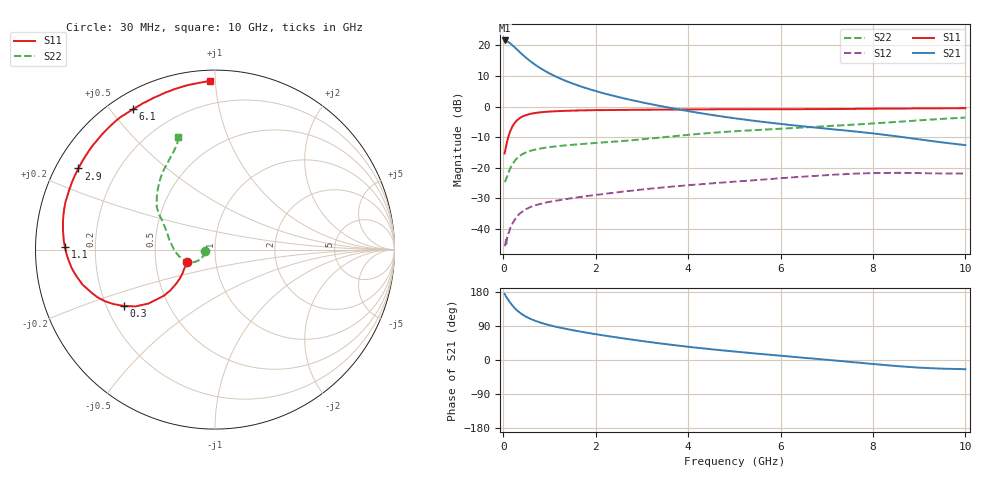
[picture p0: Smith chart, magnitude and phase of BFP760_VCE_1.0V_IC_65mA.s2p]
! Infineon Technologies  Discrete & RF Semiconductors
! BFP760
! VCE =  1.0 V,  IC =  65 mA
! Common Emitter S-Parameters:  Nov 2012
# GHz  S  MA  R  50
!  f  S11  S21  S12  S22
! GHz  MAG  ANG  MAG  ANG  MAG  ANG  MAG  ANG
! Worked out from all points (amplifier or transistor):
!   99 points, 30 MHz to 10 GHz, reference 50 ohm
!   highest |S21| = 21.6 dB at 30 MHz (marker M1)
!   |S21| within 3 dB of that: start of sweep to 301 MHz
!   unconditionally stable (mu >= 1): start of sweep to end of sweep
!   at 350 MHz: K = 2.18, MAG = 20.4 dB, |S12| = -35.1 dB
!   at 3.5 GHz: K = 2.17, MAG = 7.0 dB, |S12| = -26.4 dB
!   at 10 GHz: K = 2.23, MAG = -1.6 dB, |S12| = -21.9 dB
!   S11 on the Smith chart (normalised r, x): 30 MHz: 0.72, -0.10; 300 MHz: 0.27, -0.26; 1.1 GHz: 0.09, +0.01; 2.9 GHz: 0.07, +0.27; 6.1 GHz: 0.07, +0.57; 10 GHz: 0.06, +0.97
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0.03  0.1709 -156.6  12.07 174.5  0.0052 20.1  0.0585 -169.6
0.05  0.2027 -148.0  11.98 169.9  0.0059 32.4  0.0616 -162.9
0.08  0.2582 -140.3  11.71 164.0  0.0069 42.8  0.0708 -153.5
0.12  0.3373 -137.6  11.26 156.6  0.0086 43.7  0.0854 -148.3
0.15  0.3935 -138.3  10.83 151.5  0.0102 47.0  0.0967 -146.7
0.2  0.4759 -140.9  10.06 143.6  0.0122 47.3  0.1147 -146.8
0.25  0.5438 -144.4  9.29 136.9  0.0141 47.5  0.13 -148.5
0.3  0.5976 -148.3  8.557 130.9  0.016 46.2  0.1435 -150.6
0.35  0.6419 -151.8  7.877 125.8  0.0176 45.3  0.1548 -153.1
0.45  0.7053 -157.8  6.725 117.4  0.02 42.9  0.172 -157.7
0.6  0.7633 -165.2  5.424 108.0  0.0229 39.6  0.1898 -163.7
0.8  0.8049 -172.6  4.266 98.9  0.0255 37.4  0.2056 -170.3
1.1  0.8356 179.1  3.197 88.9  0.0285 36.4  0.2217 -177.5
1.7  0.8661 167.1  2.111 74.3  0.0334 36.2  0.2435 173.2
2.2  0.8756 159.3  1.627 64.3  0.0373 37.0  0.2604 167.9
2.9  0.8854 149.3  1.219 51.9  0.0431 36.9  0.2865 159.7
3.4  0.8911 142.8  1.022 43.7  0.0471 36.2  0.3112 155.0
5.1  0.9057 126.7  0.63 21.3  0.0598 32.8  0.3982 144.3
6.1  0.906 120.4  0.511 10.3  0.0681 30.1  0.4387 137.6
6.7  0.9089 115.9  0.458 3.9  0.0731 27.2  0.4642 133.3
8.5  0.929 99.5  0.327 -15.9  0.0824 14.8  0.5604 117.2
10  0.9413 91.6  0.234 -24.2  0.0802 9.7  0.6609 108.2
